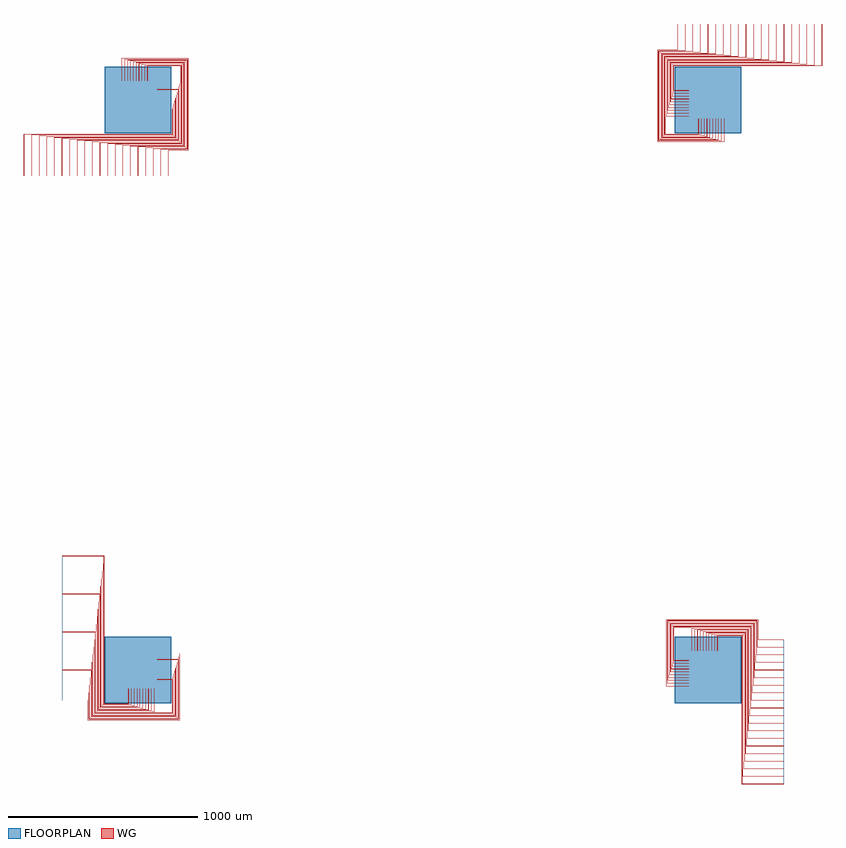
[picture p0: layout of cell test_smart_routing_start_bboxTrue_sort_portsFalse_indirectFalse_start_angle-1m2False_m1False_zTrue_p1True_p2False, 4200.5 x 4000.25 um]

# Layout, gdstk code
import gdstk
lib = gdstk.Library(unit=1e-6, precision=1e-09)
def R(c, l, rs):  # rectangles x0, y0, x1, y1
    for r in rs: c.add(gdstk.rectangle(r[:2], r[2:], *l))
def P(c, l, *ps):  # polygons
    for p in ps: c.add(gdstk.Polygon(p, *l))
WG = (1, 0)
FLOORPLAN = (10, 0)

test_smart_routing_start = lib.new_cell('test_smart_routing_start_bboxTrue_sort_portsFalse_indirectFalse_start_angle-1m2False_m1False_zTrue_p1True_p2False')
P(test_smart_routing_start, WG, [(2820.5,3049.75),(2820.5,3179.5),(3599.75,3179.5),(3599.75,3400),(3599.95,3400),(3599.95,3179.3),(2820.7,3179.3),(2820.7,3049.95),(2900,3049.95),(2900,3049.75)],
  [(2820.8,3050.05),(2820.8,3179.2),(3600.05,3179.2),(3600.05,3400),(3600.25,3400),(3600.25,3179),(2821,3179),(2821,3050.25),(2900,3050.25),(2900,3050.05)],
  [(2816,3034.75),(2816,3184),(3559.75,3184),(3559.75,3400),(3559.95,3400),(3559.95,3183.8),(2816.2,3183.8),(2816.2,3034.95),(2900,3034.95),(2900,3034.75)],
  [(2816.3,3035.05),(2816.3,3183.7),(3560.05,3183.7),(3560.05,3400),(3560.25,3400),(3560.25,3183.5),(2816.5,3183.5),(2816.5,3035.25),(2900,3035.25),(2900,3035.05)],
  [(2811.5,3019.75),(2811.5,3188.5),(3519.75,3188.5),(3519.75,3400),(3519.95,3400),(3519.95,3188.3),(2811.7,3188.3),(2811.7,3019.95),(2900,3019.95),(2900,3019.75)],
  [(2811.8,3020.05),(2811.8,3188.2),(3520.05,3188.2),(3520.05,3400),(3520.25,3400),(3520.25,3188),(2812,3188),(2812,3020.25),(2900,3020.25),(2900,3020.05)],
  [(2807,3004.75),(2807,3193),(3479.75,3193),(3479.75,3400),(3479.95,3400),(3479.95,3192.8),(2807.2,3192.8),(2807.2,3004.95),(2900,3004.95),(2900,3004.75)],
  [(2807.3,3005.05),(2807.3,3192.7),(3480.05,3192.7),(3480.05,3400),(3480.25,3400),(3480.25,3192.5),(2807.5,3192.5),(2807.5,3005.25),(2900,3005.25),(2900,3005.05)],
  [(2802.5,2989.75),(2802.5,3197.5),(3439.75,3197.5),(3439.75,3400),(3439.95,3400),(3439.95,3197.3),(2802.7,3197.3),(2802.7,2989.95),(2900,2989.95),(2900,2989.75)],
  [(2802.8,2990.05),(2802.8,3197.2),(3440.05,3197.2),(3440.05,3400),(3440.25,3400),(3440.25,3197),(2803,3197),(2803,2990.25),(2900,2990.25),(2900,2990.05)],
  [(2798,2974.75),(2798,3202),(3399.75,3202),(3399.75,3400),(3399.95,3400),(3399.95,3201.8),(2798.2,3201.8),(2798.2,2974.95),(2900,2974.95),(2900,2974.75)],
  [(2798.3,2975.05),(2798.3,3201.7),(3400.05,3201.7),(3400.05,3400),(3400.25,3400),(3400.25,3201.5),(2798.5,3201.5),(2798.5,2975.25),(2900,2975.25),(2900,2975.05)],
  [(2793.5,2959.75),(2793.5,3206.5),(3359.75,3206.5),(3359.75,3400),(3359.95,3400),(3359.95,3206.3),(2793.7,3206.3),(2793.7,2959.95),(2900,2959.95),(2900,2959.75)],
  [(2793.8,2960.05),(2793.8,3206.2),(3360.05,3206.2),(3360.05,3400),(3360.25,3400),(3360.25,3206),(2794,3206),(2794,2960.25),(2900,2960.25),(2900,2960.05)],
  [(2789,2944.75),(2789,3211),(3319.75,3211),(3319.75,3400),(3319.95,3400),(3319.95,3210.8),(2789.2,3210.8),(2789.2,2944.95),(2900,2944.95),(2900,2944.75)],
  [(2789.3,2945.05),(2789.3,3210.7),(3320.05,3210.7),(3320.05,3400),(3320.25,3400),(3320.25,3210.5),(2789.5,3210.5),(2789.5,2945.25),(2900,2945.25),(2900,2945.05)],
  [(2784.5,2929.75),(2784.5,3215.5),(3279.75,3215.5),(3279.75,3400),(3279.95,3400),(3279.95,3215.3),(2784.7,3215.3),(2784.7,2929.95),(2900,2929.95),(2900,2929.75)],
  [(2784.8,2930.05),(2784.8,3215.2),(3280.05,3215.2),(3280.05,3400),(3280.25,3400),(3280.25,3215),(2785,3215),(2785,2930.25),(2900,2930.25),(2900,2930.05)],
  [(2780,2914.75),(2780,3220),(3239.75,3220),(3239.75,3400),(3239.95,3400),(3239.95,3219.8),(2780.2,3219.8),(2780.2,2914.95),(2900,2914.95),(2900,2914.75)],
  [(2780.3,2915.05),(2780.3,3219.7),(3240.05,3219.7),(3240.05,3400),(3240.25,3400),(3240.25,3219.5),(2780.5,3219.5),(2780.5,2915.25),(2900,2915.25),(2900,2915.05)],
  [(2775.5,2820.5),(2775.5,3224.5),(3199.75,3224.5),(3199.75,3400),(3199.95,3400),(3199.95,3224.3),(2775.7,3224.3),(2775.7,2820.7),(2950.05,2820.7),(2950.05,2900),(2950.25,2900),(2950.25,2820.5)],
  [(2775.8,2820.8),(2775.8,3224.2),(3200.05,3224.2),(3200.05,3400),(3200.25,3400),(3200.25,3224),(2776,3224),(2776,2821),(2949.75,2821),(2949.75,2900),(2949.95,2900),(2949.95,2820.8)],
  [(2771,2816),(2771,3229),(3159.75,3229),(3159.75,3400),(3159.95,3400),(3159.95,3228.8),(2771.2,3228.8),(2771.2,2816.2),(2965.05,2816.2),(2965.05,2900),(2965.25,2900),(2965.25,2816)],
  [(2771.3,2816.3),(2771.3,3228.7),(3160.05,3228.7),(3160.05,3400),(3160.25,3400),(3160.25,3228.5),(2771.5,3228.5),(2771.5,2816.5),(2964.75,2816.5),(2964.75,2900),(2964.95,2900),(2964.95,2816.3)],
  [(2766.5,2811.5),(2766.5,3233.5),(3119.75,3233.5),(3119.75,3400),(3119.95,3400),(3119.95,3233.3),(2766.7,3233.3),(2766.7,2811.7),(2980.05,2811.7),(2980.05,2900),(2980.25,2900),(2980.25,2811.5)],
  [(2766.8,2811.8),(2766.8,3233.2),(3120.05,3233.2),(3120.05,3400),(3120.25,3400),(3120.25,3233),(2767,3233),(2767,2812),(2979.75,2812),(2979.75,2900),(2979.95,2900),(2979.95,2811.8)],
  [(2762,2807),(2762,3238),(3079.75,3238),(3079.75,3400),(3079.95,3400),(3079.95,3237.8),(2762.2,3237.8),(2762.2,2807.2),(2995.05,2807.2),(2995.05,2900),(2995.25,2900),(2995.25,2807)],
  [(2762.3,2807.3),(2762.3,3237.7),(3080.05,3237.7),(3080.05,3400),(3080.25,3400),(3080.25,3237.5),(2762.5,3237.5),(2762.5,2807.5),(2994.75,2807.5),(2994.75,2900),(2994.95,2900),(2994.95,2807.3)],
  [(2757.5,2802.5),(2757.5,3242.5),(3039.75,3242.5),(3039.75,3400),(3039.95,3400),(3039.95,3242.3),(2757.7,3242.3),(2757.7,2802.7),(3010.05,2802.7),(3010.05,2900),(3010.25,2900),(3010.25,2802.5)],
  [(2757.8,2802.8),(2757.8,3242.2),(3040.05,3242.2),(3040.05,3400),(3040.25,3400),(3040.25,3242),(2758,3242),(2758,2803),(3009.75,2803),(3009.75,2900),(3009.95,2900),(3009.95,2802.8)],
  [(2753,2798),(2753,3247),(2999.75,3247),(2999.75,3400),(2999.95,3400),(2999.95,3246.8),(2753.2,3246.8),(2753.2,2798.2),(3025.05,2798.2),(3025.05,2900),(3025.25,2900),(3025.25,2798)],
  [(2753.3,2798.3),(2753.3,3246.7),(3000.05,3246.7),(3000.05,3400),(3000.25,3400),(3000.25,3246.5),(2753.5,3246.5),(2753.5,2798.5),(3024.75,2798.5),(3024.75,2900),(3024.95,2900),(3024.95,2798.3)],
  [(2748.5,2793.5),(2748.5,3251.5),(2959.75,3251.5),(2959.75,3400),(2959.95,3400),(2959.95,3251.3),(2748.7,3251.3),(2748.7,2793.7),(3040.05,2793.7),(3040.05,2900),(3040.25,2900),(3040.25,2793.5)],
  [(2748.8,2793.8),(2748.8,3251.2),(2960.05,3251.2),(2960.05,3400),(2960.25,3400),(2960.25,3251),(2749,3251),(2749,2794),(3039.75,2794),(3039.75,2900),(3039.95,2900),(3039.95,2793.8)],
  [(2744,2789),(2744,3256),(2919.75,3256),(2919.75,3400),(2919.95,3400),(2919.95,3255.8),(2744.2,3255.8),(2744.2,2789.2),(3055.05,2789.2),(3055.05,2900),(3055.25,2900),(3055.25,2789)],
  [(2744.3,2789.3),(2744.3,3255.7),(2920.05,3255.7),(2920.05,3400),(2920.25,3400),(2920.25,3255.5),(2744.5,3255.5),(2744.5,2789.5),(3054.75,2789.5),(3054.75,2900),(3054.95,2900),(3054.95,2789.3)],
  [(2739.5,2784.5),(2739.5,3260.5),(2879.75,3260.5),(2879.75,3400),(2879.95,3400),(2879.95,3260.3),(2739.7,3260.3),(2739.7,2784.7),(3070.05,2784.7),(3070.05,2900),(3070.25,2900),(3070.25,2784.5)],
  [(2739.8,2784.8),(2739.8,3260.2),(2880.05,3260.2),(2880.05,3400),(2880.25,3400),(2880.25,3260),(2740,3260),(2740,2785),(3069.75,2785),(3069.75,2900),(3069.95,2900),(3069.95,2784.8)],
  [(2735,2780),(2735,3265),(2839.75,3265),(2839.75,3400),(2839.95,3400),(2839.95,3264.8),(2735.2,3264.8),(2735.2,2780.2),(3085.05,2780.2),(3085.05,2900),(3085.25,2900),(3085.25,2780)],
  [(2735.3,2780.3),(2735.3,3264.7),(2840.05,3264.7),(2840.05,3400),(2840.25,3400),(2840.25,3264.5),(2735.5,3264.5),(2735.5,2780.5),(3084.75,2780.5),(3084.75,2900),(3084.95,2900),(3084.95,2780.3)],
  [(-600.25,2600),(-600.25,2821),(179,2821),(179,2949.75),(100,2949.75),(100,2949.95),(179.2,2949.95),(179.2,2820.8),(-600.05,2820.8),(-600.05,2600)],
  [(-599.95,2600),(-599.95,2820.7),(179.3,2820.7),(179.3,2950.05),(100,2950.05),(100,2950.25),(179.5,2950.25),(179.5,2820.5),(-599.75,2820.5),(-599.75,2600)],
  [(-560.25,2600),(-560.25,2816.5),(183.5,2816.5),(183.5,2964.75),(100,2964.75),(100,2964.95),(183.7,2964.95),(183.7,2816.3),(-560.05,2816.3),(-560.05,2600)],
  [(-559.95,2600),(-559.95,2816.2),(183.8,2816.2),(183.8,2965.05),(100,2965.05),(100,2965.25),(184,2965.25),(184,2816),(-559.75,2816),(-559.75,2600)],
  [(-520.25,2600),(-520.25,2812),(188,2812),(188,2979.75),(100,2979.75),(100,2979.95),(188.2,2979.95),(188.2,2811.8),(-520.05,2811.8),(-520.05,2600)],
  [(-519.95,2600),(-519.95,2811.7),(188.3,2811.7),(188.3,2980.05),(100,2980.05),(100,2980.25),(188.5,2980.25),(188.5,2811.5),(-519.75,2811.5),(-519.75,2600)],
  [(-480.25,2600),(-480.25,2807.5),(192.5,2807.5),(192.5,2994.75),(100,2994.75),(100,2994.95),(192.7,2994.95),(192.7,2807.3),(-480.05,2807.3),(-480.05,2600)],
  [(-479.95,2600),(-479.95,2807.2),(192.8,2807.2),(192.8,2995.05),(100,2995.05),(100,2995.25),(193,2995.25),(193,2807),(-479.75,2807),(-479.75,2600)],
  [(-440.25,2600),(-440.25,2803),(197,2803),(197,3009.75),(100,3009.75),(100,3009.95),(197.2,3009.95),(197.2,2802.8),(-440.05,2802.8),(-440.05,2600)],
  [(-439.95,2600),(-439.95,2802.7),(197.3,2802.7),(197.3,3010.05),(100,3010.05),(100,3010.25),(197.5,3010.25),(197.5,2802.5),(-439.75,2802.5),(-439.75,2600)],
  [(-400.25,2600),(-400.25,2798.5),(201.5,2798.5),(201.5,3024.75),(100,3024.75),(100,3024.95),(201.7,3024.95),(201.7,2798.3),(-400.05,2798.3),(-400.05,2600)],
  [(-399.95,2600),(-399.95,2798.2),(201.8,2798.2),(201.8,3025.05),(100,3025.05),(100,3025.25),(202,3025.25),(202,2798),(-399.75,2798),(-399.75,2600)],
  [(-360.25,2600),(-360.25,2794),(206,2794),(206,3039.75),(100,3039.75),(100,3039.95),(206.2,3039.95),(206.2,2793.8),(-360.05,2793.8),(-360.05,2600)],
  [(-359.95,2600),(-359.95,2793.7),(206.3,2793.7),(206.3,3040.05),(100,3040.05),(100,3040.25),(206.5,3040.25),(206.5,2793.5),(-359.75,2793.5),(-359.75,2600)],
  [(-320.25,2600),(-320.25,2789.5),(210.5,2789.5),(210.5,3054.75),(100,3054.75),(100,3054.95),(210.7,3054.95),(210.7,2789.3),(-320.05,2789.3),(-320.05,2600)],
  [(-319.95,2600),(-319.95,2789.2),(210.8,2789.2),(210.8,3055.05),(100,3055.05),(100,3055.25),(211,3055.25),(211,2789),(-319.75,2789),(-319.75,2600)],
  [(-280.25,2600),(-280.25,2785),(215,2785),(215,3069.75),(100,3069.75),(100,3069.95),(215.2,3069.95),(215.2,2784.8),(-280.05,2784.8),(-280.05,2600)],
  [(-279.95,2600),(-279.95,2784.7),(215.3,2784.7),(215.3,3070.05),(100,3070.05),(100,3070.25),(215.5,3070.25),(215.5,2784.5),(-279.75,2784.5),(-279.75,2600)],
  [(-240.25,2600),(-240.25,2780.5),(219.5,2780.5),(219.5,3084.75),(100,3084.75),(100,3084.95),(219.7,3084.95),(219.7,2780.3),(-240.05,2780.3),(-240.05,2600)],
  [(-239.95,2600),(-239.95,2780.2),(219.8,2780.2),(219.8,3085.05),(100,3085.05),(100,3085.25),(220,3085.25),(220,2780),(-239.75,2780),(-239.75,2600)],
  [(-200.25,2600),(-200.25,2776),(224,2776),(224,3179),(50.25,3179),(50.25,3100),(50.05,3100),(50.05,3179.2),(224.2,3179.2),(224.2,2775.8),(-200.05,2775.8),(-200.05,2600)],
  [(-199.95,2600),(-199.95,2775.7),(224.3,2775.7),(224.3,3179.3),(49.95,3179.3),(49.95,3100),(49.75,3100),(49.75,3179.5),(224.5,3179.5),(224.5,2775.5),(-199.75,2775.5),(-199.75,2600)],
  [(-160.25,2600),(-160.25,2771.5),(228.5,2771.5),(228.5,3183.5),(35.25,3183.5),(35.25,3100),(35.05,3100),(35.05,3183.7),(228.7,3183.7),(228.7,2771.3),(-160.05,2771.3),(-160.05,2600)],
  [(-159.95,2600),(-159.95,2771.2),(228.8,2771.2),(228.8,3183.8),(34.95,3183.8),(34.95,3100),(34.75,3100),(34.75,3184),(229,3184),(229,2771),(-159.75,2771),(-159.75,2600)],
  [(-120.25,2600),(-120.25,2767),(233,2767),(233,3188),(20.25,3188),(20.25,3100),(20.05,3100),(20.05,3188.2),(233.2,3188.2),(233.2,2766.8),(-120.05,2766.8),(-120.05,2600)],
  [(-119.95,2600),(-119.95,2766.7),(233.3,2766.7),(233.3,3188.3),(19.95,3188.3),(19.95,3100),(19.75,3100),(19.75,3188.5),(233.5,3188.5),(233.5,2766.5),(-119.75,2766.5),(-119.75,2600)],
  [(-80.25,2600),(-80.25,2762.5),(237.5,2762.5),(237.5,3192.5),(5.25,3192.5),(5.25,3100),(5.05,3100),(5.05,3192.7),(237.7,3192.7),(237.7,2762.3),(-80.05,2762.3),(-80.05,2600)],
  [(-79.95,2600),(-79.95,2762.2),(237.8,2762.2),(237.8,3192.8),(4.95,3192.8),(4.95,3100),(4.75,3100),(4.75,3193),(238,3193),(238,2762),(-79.75,2762),(-79.75,2600)],
  [(-40.25,2600),(-40.25,2758),(242,2758),(242,3197),(-9.75,3197),(-9.75,3100),(-9.95,3100),(-9.95,3197.2),(242.2,3197.2),(242.2,2757.8),(-40.05,2757.8),(-40.05,2600)],
  [(-39.95,2600),(-39.95,2757.7),(242.3,2757.7),(242.3,3197.3),(-10.05,3197.3),(-10.05,3100),(-10.25,3100),(-10.25,3197.5),(242.5,3197.5),(242.5,2757.5),(-39.75,2757.5),(-39.75,2600)],
  [(-0.25,2600),(-0.25,2753.5),(246.5,2753.5),(246.5,3201.5),(-24.75,3201.5),(-24.75,3100),(-24.95,3100),(-24.95,3201.7),(246.7,3201.7),(246.7,2753.3),(-0.05,2753.3),(-0.05,2600)],
  [(0.05,2600),(0.05,2753.2),(246.8,2753.2),(246.8,3201.8),(-25.05,3201.8),(-25.05,3100),(-25.25,3100),(-25.25,3202),(247,3202),(247,2753),(0.25,2753),(0.25,2600)],
  [(39.75,2600),(39.75,2749),(251,2749),(251,3206),(-39.75,3206),(-39.75,3100),(-39.95,3100),(-39.95,3206.2),(251.2,3206.2),(251.2,2748.8),(39.95,2748.8),(39.95,2600)],
  [(40.05,2600),(40.05,2748.7),(251.3,2748.7),(251.3,3206.3),(-40.05,3206.3),(-40.05,3100),(-40.25,3100),(-40.25,3206.5),(251.5,3206.5),(251.5,2748.5),(40.25,2748.5),(40.25,2600)],
  [(79.75,2600),(79.75,2744.5),(255.5,2744.5),(255.5,3210.5),(-54.75,3210.5),(-54.75,3100),(-54.95,3100),(-54.95,3210.7),(255.7,3210.7),(255.7,2744.3),(79.95,2744.3),(79.95,2600)],
  [(80.05,2600),(80.05,2744.2),(255.8,2744.2),(255.8,3210.8),(-55.05,3210.8),(-55.05,3100),(-55.25,3100),(-55.25,3211),(256,3211),(256,2744),(80.25,2744),(80.25,2600)],
  [(119.75,2600),(119.75,2740),(260,2740),(260,3215),(-69.75,3215),(-69.75,3100),(-69.95,3100),(-69.95,3215.2),(260.2,3215.2),(260.2,2739.8),(119.95,2739.8),(119.95,2600)],
  [(120.05,2600),(120.05,2739.7),(260.3,2739.7),(260.3,3215.3),(-70.05,3215.3),(-70.05,3100),(-70.25,3100),(-70.25,3215.5),(260.5,3215.5),(260.5,2739.5),(120.25,2739.5),(120.25,2600)],
  [(159.75,2600),(159.75,2735.5),(264.5,2735.5),(264.5,3219.5),(-84.75,3219.5),(-84.75,3100),(-84.95,3100),(-84.95,3219.7),(264.7,3219.7),(264.7,2735.3),(159.95,2735.3),(159.95,2600)],
  [(160.05,2600),(160.05,2735.2),(264.8,2735.2),(264.8,3219.8),(-85.05,3219.8),(-85.05,3100),(-85.25,3100),(-85.25,3220),(265,3220),(265,2735),(160.25,2735),(160.25,2600)],
  [(-179.5,-179.5),(-179.5,599.75),(-400,599.75),(-400,599.95),(-179.3,599.95),(-179.3,-179.3),(-49.95,-179.3),(-49.95,-100),(-49.75,-100),(-49.75,-179.5)],
  [(-179.2,-179.2),(-179.2,600.05),(-400,600.05),(-400,600.25),(-179,600.25),(-179,-179),(-50.25,-179),(-50.25,-100),(-50.05,-100),(-50.05,-179.2)],
  [(-184,-184),(-184,559.75),(-400,559.75),(-400,559.95),(-183.8,559.95),(-183.8,-183.8),(-34.95,-183.8),(-34.95,-100),(-34.75,-100),(-34.75,-184)],
  [(-183.7,-183.7),(-183.7,560.05),(-400,560.05),(-400,560.25),(-183.5,560.25),(-183.5,-183.5),(-35.25,-183.5),(-35.25,-100),(-35.05,-100),(-35.05,-183.7)],
  [(-188.5,-188.5),(-188.5,519.75),(-400,519.75),(-400,519.95),(-188.3,519.95),(-188.3,-188.3),(-19.95,-188.3),(-19.95,-100),(-19.75,-100),(-19.75,-188.5)],
  [(-188.2,-188.2),(-188.2,520.05),(-400,520.05),(-400,520.25),(-188,520.25),(-188,-188),(-20.25,-188),(-20.25,-100),(-20.05,-100),(-20.05,-188.2)],
  [(-193,-193),(-193,479.75),(-400,479.75),(-400,479.95),(-192.8,479.95),(-192.8,-192.8),(-4.95,-192.8),(-4.95,-100),(-4.75,-100),(-4.75,-193)],
  [(-192.7,-192.7),(-192.7,480.05),(-400,480.05),(-400,480.25),(-192.5,480.25),(-192.5,-192.5),(-5.25,-192.5),(-5.25,-100),(-5.05,-100),(-5.05,-192.7)],
  [(-197.5,-197.5),(-197.5,439.75),(-400,439.75),(-400,439.95),(-197.3,439.95),(-197.3,-197.3),(10.05,-197.3),(10.05,-100),(10.25,-100),(10.25,-197.5)],
  [(-197.2,-197.2),(-197.2,440.05),(-400,440.05),(-400,440.25),(-197,440.25),(-197,-197),(9.75,-197),(9.75,-100),(9.95,-100),(9.95,-197.2)],
  [(-202,-202),(-202,399.75),(-400,399.75),(-400,399.95),(-201.8,399.95),(-201.8,-201.8),(25.05,-201.8),(25.05,-100),(25.25,-100),(25.25,-202)],
  [(-201.7,-201.7),(-201.7,400.05),(-400,400.05),(-400,400.25),(-201.5,400.25),(-201.5,-201.5),(24.75,-201.5),(24.75,-100),(24.95,-100),(24.95,-201.7)],
  [(-206.5,-206.5),(-206.5,359.75),(-400,359.75),(-400,359.95),(-206.3,359.95),(-206.3,-206.3),(40.05,-206.3),(40.05,-100),(40.25,-100),(40.25,-206.5)],
  [(-206.2,-206.2),(-206.2,360.05),(-400,360.05),(-400,360.25),(-206,360.25),(-206,-206),(39.75,-206),(39.75,-100),(39.95,-100),(39.95,-206.2)],
  [(-211,-211),(-211,319.75),(-400,319.75),(-400,319.95),(-210.8,319.95),(-210.8,-210.8),(55.05,-210.8),(55.05,-100),(55.25,-100),(55.25,-211)],
  [(-210.7,-210.7),(-210.7,320.05),(-400,320.05),(-400,320.25),(-210.5,320.25),(-210.5,-210.5),(54.75,-210.5),(54.75,-100),(54.95,-100),(54.95,-210.7)],
  [(-215.5,-215.5),(-215.5,279.75),(-400,279.75),(-400,279.95),(-215.3,279.95),(-215.3,-215.3),(70.05,-215.3),(70.05,-100),(70.25,-100),(70.25,-215.5)],
  [(-215.2,-215.2),(-215.2,280.05),(-400,280.05),(-400,280.25),(-215,280.25),(-215,-215),(69.75,-215),(69.75,-100),(69.95,-100),(69.95,-215.2)],
  [(-220,-220),(-220,239.75),(-400,239.75),(-400,239.95),(-219.8,239.95),(-219.8,-219.8),(85.05,-219.8),(85.05,-100),(85.25,-100),(85.25,-220)],
  [(-219.7,-219.7),(-219.7,240.05),(-400,240.05),(-400,240.25),(-219.5,240.25),(-219.5,-219.5),(84.75,-219.5),(84.75,-100),(84.95,-100),(84.95,-219.7)],
  [(-224.5,-224.5),(-224.5,199.75),(-400,199.75),(-400,199.95),(-224.3,199.95),(-224.3,-224.3),(179.3,-224.3),(179.3,-49.95),(100,-49.95),(100,-49.75),(179.5,-49.75),(179.5,-224.5)],
  [(-224.2,-224.2),(-224.2,200.05),(-400,200.05),(-400,200.25),(-224,200.25),(-224,-224),(179,-224),(179,-50.25),(100,-50.25),(100,-50.05),(179.2,-50.05),(179.2,-224.2)],
  [(-229,-229),(-229,159.75),(-400,159.75),(-400,159.95),(-228.8,159.95),(-228.8,-228.8),(183.8,-228.8),(183.8,-34.95),(100,-34.95),(100,-34.75),(184,-34.75),(184,-229)],
  [(-228.7,-228.7),(-228.7,160.05),(-400,160.05),(-400,160.25),(-228.5,160.25),(-228.5,-228.5),(183.5,-228.5),(183.5,-35.25),(100,-35.25),(100,-35.05),(183.7,-35.05),(183.7,-228.7)],
  [(-233.5,-233.5),(-233.5,119.75),(-400,119.75),(-400,119.95),(-233.3,119.95),(-233.3,-233.3),(188.3,-233.3),(188.3,-19.95),(100,-19.95),(100,-19.75),(188.5,-19.75),(188.5,-233.5)],
  [(-233.2,-233.2),(-233.2,120.05),(-400,120.05),(-400,120.25),(-233,120.25),(-233,-233),(188,-233),(188,-20.25),(100,-20.25),(100,-20.05),(188.2,-20.05),(188.2,-233.2)],
  [(-238,-238),(-238,79.75),(-400,79.75),(-400,79.95),(-237.8,79.95),(-237.8,-237.8),(192.8,-237.8),(192.8,-4.95),(100,-4.95),(100,-4.75),(193,-4.75),(193,-238)],
  [(-237.7,-237.7),(-237.7,80.05),(-400,80.05),(-400,80.25),(-237.5,80.25),(-237.5,-237.5),(192.5,-237.5),(192.5,-5.25),(100,-5.25),(100,-5.05),(192.7,-5.05),(192.7,-237.7)],
  [(-242.5,-242.5),(-242.5,39.75),(-400,39.75),(-400,39.95),(-242.3,39.95),(-242.3,-242.3),(197.3,-242.3),(197.3,10.05),(100,10.05),(100,10.25),(197.5,10.25),(197.5,-242.5)],
  [(-242.2,-242.2),(-242.2,40.05),(-400,40.05),(-400,40.25),(-242,40.25),(-242,-242),(197,-242),(197,9.75),(100,9.75),(100,9.95),(197.2,9.95),(197.2,-242.2)],
  [(-246.7,-246.7),(-246.7,0.05),(-400,0.05),(-400,0.25),(-246.5,0.25),(-246.5,-246.5),(201.5,-246.5),(201.5,24.75),(100,24.75),(100,24.95),(201.7,24.95),(201.7,-246.7)],
  [(-247,-247),(-247,-0.25),(-400,-0.25),(-400,-0.05),(-246.8,-0.05),(-246.8,-246.8),(201.8,-246.8),(201.8,25.05),(100,25.05),(100,25.25),(202,25.25),(202,-247)],
  [(-251.2,-251.2),(-251.2,-39.95),(-400,-39.95),(-400,-39.75),(-251,-39.75),(-251,-251),(206,-251),(206,39.75),(100,39.75),(100,39.95),(206.2,39.95),(206.2,-251.2)],
  [(-251.5,-251.5),(-251.5,-40.25),(-400,-40.25),(-400,-40.05),(-251.3,-40.05),(-251.3,-251.3),(206.3,-251.3),(206.3,40.05),(100,40.05),(100,40.25),(206.5,40.25),(206.5,-251.5)],
  [(-255.7,-255.7),(-255.7,-79.95),(-400,-79.95),(-400,-79.75),(-255.5,-79.75),(-255.5,-255.5),(210.5,-255.5),(210.5,54.75),(100,54.75),(100,54.95),(210.7,54.95),(210.7,-255.7)],
  [(-256,-256),(-256,-80.25),(-400,-80.25),(-400,-80.05),(-255.8,-80.05),(-255.8,-255.8),(210.8,-255.8),(210.8,55.05),(100,55.05),(100,55.25),(211,55.25),(211,-256)],
  [(-260.2,-260.2),(-260.2,-119.95),(-400,-119.95),(-400,-119.75),(-260,-119.75),(-260,-260),(215,-260),(215,69.75),(100,69.75),(100,69.95),(215.2,69.95),(215.2,-260.2)],
  [(-260.5,-260.5),(-260.5,-120.25),(-400,-120.25),(-400,-120.05),(-260.3,-120.05),(-260.3,-260.3),(215.3,-260.3),(215.3,70.05),(100,70.05),(100,70.25),(215.5,70.25),(215.5,-260.5)],
  [(-264.7,-264.7),(-264.7,-159.95),(-400,-159.95),(-400,-159.75),(-264.5,-159.75),(-264.5,-264.5),(219.5,-264.5),(219.5,84.75),(100,84.75),(100,84.95),(219.7,84.95),(219.7,-264.7)],
  [(-265,-265),(-265,-160.25),(-400,-160.25),(-400,-160.05),(-264.8,-160.05),(-264.8,-264.8),(219.8,-264.8),(219.8,85.05),(100,85.05),(100,85.25),(220,85.25),(220,-265)],
  [(3179,-600.25),(3179,179),(3050.25,179),(3050.25,100),(3050.05,100),(3050.05,179.2),(3179.2,179.2),(3179.2,-600.05),(3400,-600.05),(3400,-600.25)],
  [(3179.3,-599.95),(3179.3,179.3),(3049.95,179.3),(3049.95,100),(3049.75,100),(3049.75,179.5),(3179.5,179.5),(3179.5,-599.75),(3400,-599.75),(3400,-599.95)],
  [(3183.5,-560.25),(3183.5,183.5),(3035.25,183.5),(3035.25,100),(3035.05,100),(3035.05,183.7),(3183.7,183.7),(3183.7,-560.05),(3400,-560.05),(3400,-560.25)],
  [(3183.8,-559.95),(3183.8,183.8),(3034.95,183.8),(3034.95,100),(3034.75,100),(3034.75,184),(3184,184),(3184,-559.75),(3400,-559.75),(3400,-559.95)],
  [(3188,-520.25),(3188,188),(3020.25,188),(3020.25,100),(3020.05,100),(3020.05,188.2),(3188.2,188.2),(3188.2,-520.05),(3400,-520.05),(3400,-520.25)],
  [(3188.3,-519.95),(3188.3,188.3),(3019.95,188.3),(3019.95,100),(3019.75,100),(3019.75,188.5),(3188.5,188.5),(3188.5,-519.75),(3400,-519.75),(3400,-519.95)],
  [(3192.5,-480.25),(3192.5,192.5),(3005.25,192.5),(3005.25,100),(3005.05,100),(3005.05,192.7),(3192.7,192.7),(3192.7,-480.05),(3400,-480.05),(3400,-480.25)],
  [(3192.8,-479.95),(3192.8,192.8),(3004.95,192.8),(3004.95,100),(3004.75,100),(3004.75,193),(3193,193),(3193,-479.75),(3400,-479.75),(3400,-479.95)],
  [(3197,-440.25),(3197,197),(2990.25,197),(2990.25,100),(2990.05,100),(2990.05,197.2),(3197.2,197.2),(3197.2,-440.05),(3400,-440.05),(3400,-440.25)],
  [(3197.3,-439.95),(3197.3,197.3),(2989.95,197.3),(2989.95,100),(2989.75,100),(2989.75,197.5),(3197.5,197.5),(3197.5,-439.75),(3400,-439.75),(3400,-439.95)],
  [(3201.5,-400.25),(3201.5,201.5),(2975.25,201.5),(2975.25,100),(2975.05,100),(2975.05,201.7),(3201.7,201.7),(3201.7,-400.05),(3400,-400.05),(3400,-400.25)],
  [(3201.8,-399.95),(3201.8,201.8),(2974.95,201.8),(2974.95,100),(2974.75,100),(2974.75,202),(3202,202),(3202,-399.75),(3400,-399.75),(3400,-399.95)],
  [(3206,-360.25),(3206,206),(2960.25,206),(2960.25,100),(2960.05,100),(2960.05,206.2),(3206.2,206.2),(3206.2,-360.05),(3400,-360.05),(3400,-360.25)],
  [(3206.3,-359.95),(3206.3,206.3),(2959.95,206.3),(2959.95,100),(2959.75,100),(2959.75,206.5),(3206.5,206.5),(3206.5,-359.75),(3400,-359.75),(3400,-359.95)],
  [(3210.5,-320.25),(3210.5,210.5),(2945.25,210.5),(2945.25,100),(2945.05,100),(2945.05,210.7),(3210.7,210.7),(3210.7,-320.05),(3400,-320.05),(3400,-320.25)],
  [(3210.8,-319.95),(3210.8,210.8),(2944.95,210.8),(2944.95,100),(2944.75,100),(2944.75,211),(3211,211),(3211,-319.75),(3400,-319.75),(3400,-319.95)],
  [(3215,-280.25),(3215,215),(2930.25,215),(2930.25,100),(2930.05,100),(2930.05,215.2),(3215.2,215.2),(3215.2,-280.05),(3400,-280.05),(3400,-280.25)],
  [(3215.3,-279.95),(3215.3,215.3),(2929.95,215.3),(2929.95,100),(2929.75,100),(2929.75,215.5),(3215.5,215.5),(3215.5,-279.75),(3400,-279.75),(3400,-279.95)],
  [(3219.5,-240.25),(3219.5,219.5),(2915.25,219.5),(2915.25,100),(2915.05,100),(2915.05,219.7),(3219.7,219.7),(3219.7,-240.05),(3400,-240.05),(3400,-240.25)],
  [(3219.8,-239.95),(3219.8,219.8),(2914.95,219.8),(2914.95,100),(2914.75,100),(2914.75,220),(3220,220),(3220,-239.75),(3400,-239.75),(3400,-239.95)],
  [(3224,-200.25),(3224,224),(2821,224),(2821,50.25),(2900,50.25),(2900,50.05),(2820.8,50.05),(2820.8,224.2),(3224.2,224.2),(3224.2,-200.05),(3400,-200.05),(3400,-200.25)],
  [(3224.3,-199.95),(3224.3,224.3),(2820.7,224.3),(2820.7,49.95),(2900,49.95),(2900,49.75),(2820.5,49.75),(2820.5,224.5),(3224.5,224.5),(3224.5,-199.75),(3400,-199.75),(3400,-199.95)],
  [(3228.5,-160.25),(3228.5,228.5),(2816.5,228.5),(2816.5,35.25),(2900,35.25),(2900,35.05),(2816.3,35.05),(2816.3,228.7),(3228.7,228.7),(3228.7,-160.05),(3400,-160.05),(3400,-160.25)],
  [(3228.8,-159.95),(3228.8,228.8),(2816.2,228.8),(2816.2,34.95),(2900,34.95),(2900,34.75),(2816,34.75),(2816,229),(3229,229),(3229,-159.75),(3400,-159.75),(3400,-159.95)],
  [(3233,-120.25),(3233,233),(2812,233),(2812,20.25),(2900,20.25),(2900,20.05),(2811.8,20.05),(2811.8,233.2),(3233.2,233.2),(3233.2,-120.05),(3400,-120.05),(3400,-120.25)],
  [(3233.3,-119.95),(3233.3,233.3),(2811.7,233.3),(2811.7,19.95),(2900,19.95),(2900,19.75),(2811.5,19.75),(2811.5,233.5),(3233.5,233.5),(3233.5,-119.75),(3400,-119.75),(3400,-119.95)],
  [(3237.5,-80.25),(3237.5,237.5),(2807.5,237.5),(2807.5,5.25),(2900,5.25),(2900,5.05),(2807.3,5.05),(2807.3,237.7),(3237.7,237.7),(3237.7,-80.05),(3400,-80.05),(3400,-80.25)],
  [(3237.8,-79.95),(3237.8,237.8),(2807.2,237.8),(2807.2,4.95),(2900,4.95),(2900,4.75),(2807,4.75),(2807,238),(3238,238),(3238,-79.75),(3400,-79.75),(3400,-79.95)],
  [(3242,-40.25),(3242,242),(2803,242),(2803,-9.75),(2900,-9.75),(2900,-9.95),(2802.8,-9.95),(2802.8,242.2),(3242.2,242.2),(3242.2,-40.05),(3400,-40.05),(3400,-40.25)],
  [(3242.3,-39.95),(3242.3,242.3),(2802.7,242.3),(2802.7,-10.05),(2900,-10.05),(2900,-10.25),(2802.5,-10.25),(2802.5,242.5),(3242.5,242.5),(3242.5,-39.75),(3400,-39.75),(3400,-39.95)],
  [(2798.3,-24.95),(2798.3,246.7),(3246.7,246.7),(3246.7,-0.05),(3400,-0.05),(3400,-0.25),(3246.5,-0.25),(3246.5,246.5),(2798.5,246.5),(2798.5,-24.75),(2900,-24.75),(2900,-24.95)],
  [(2798,-25.25),(2798,247),(3247,247),(3247,0.25),(3400,0.25),(3400,0.05),(3246.8,0.05),(3246.8,246.8),(2798.2,246.8),(2798.2,-25.05),(2900,-25.05),(2900,-25.25)],
  [(2793.8,-39.95),(2793.8,251.2),(3251.2,251.2),(3251.2,39.95),(3400,39.95),(3400,39.75),(3251,39.75),(3251,251),(2794,251),(2794,-39.75),(2900,-39.75),(2900,-39.95)],
  [(2793.5,-40.25),(2793.5,251.5),(3251.5,251.5),(3251.5,40.25),(3400,40.25),(3400,40.05),(3251.3,40.05),(3251.3,251.3),(2793.7,251.3),(2793.7,-40.05),(2900,-40.05),(2900,-40.25)],
  [(2789.3,-54.95),(2789.3,255.7),(3255.7,255.7),(3255.7,79.95),(3400,79.95),(3400,79.75),(3255.5,79.75),(3255.5,255.5),(2789.5,255.5),(2789.5,-54.75),(2900,-54.75),(2900,-54.95)],
  [(2789,-55.25),(2789,256),(3256,256),(3256,80.25),(3400,80.25),(3400,80.05),(3255.8,80.05),(3255.8,255.8),(2789.2,255.8),(2789.2,-55.05),(2900,-55.05),(2900,-55.25)],
  [(2784.8,-69.95),(2784.8,260.2),(3260.2,260.2),(3260.2,119.95),(3400,119.95),(3400,119.75),(3260,119.75),(3260,260),(2785,260),(2785,-69.75),(2900,-69.75),(2900,-69.95)],
  [(2784.5,-70.25),(2784.5,260.5),(3260.5,260.5),(3260.5,120.25),(3400,120.25),(3400,120.05),(3260.3,120.05),(3260.3,260.3),(2784.7,260.3),(2784.7,-70.05),(2900,-70.05),(2900,-70.25)],
  [(2780.3,-84.95),(2780.3,264.7),(3264.7,264.7),(3264.7,159.95),(3400,159.95),(3400,159.75),(3264.5,159.75),(3264.5,264.5),(2780.5,264.5),(2780.5,-84.75),(2900,-84.75),(2900,-84.95)],
  [(2780,-85.25),(2780,265),(3265,265),(3265,160.25),(3400,160.25),(3400,160.05),(3264.8,160.05),(3264.8,264.8),(2780.2,264.8),(2780.2,-85.05),(2900,-85.05),(2900,-85.25)])
R(test_smart_routing_start, FLOORPLAN, [(-175,-175,175,175), (2825,-175,3175,175), (-175,2825,175,3175), (2825,2825,3175,3175)])
P(test_smart_routing_start, FLOORPLAN, [(-400,-160),(-400,600),(-400,600),(-400,-160)],
  [(-600,2600),(-600,2600),(160,2600),(160,2600)],
  [(3400,-600),(3400,160),(3400,160),(3400,-600)],
  [(2840,3400),(2840,3400),(3600,3400),(3600,3400)])

lib.write_gds('test_smart_routing_start_bboxTrue_sort_portsFalse_indirectFalse_start_angle-1m2False_m1False_zTrue_p1True_p2False.gds')
